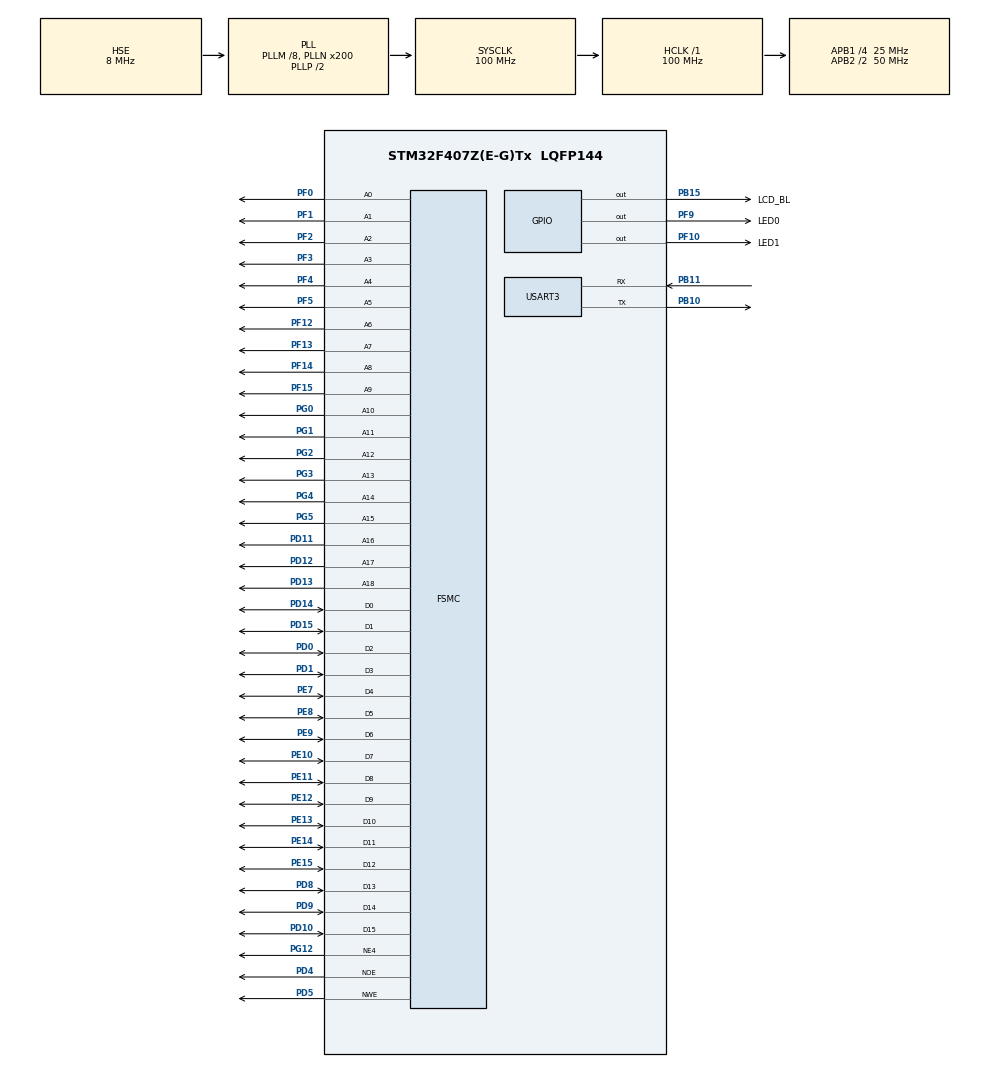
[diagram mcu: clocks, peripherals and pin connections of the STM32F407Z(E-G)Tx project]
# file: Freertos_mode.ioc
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FREERTOS.Tasks01=defaultTask,0,128,StartDefaultTask,Default;Task_LED,0,128,Func_LED,Default
FSMC.BusTurnAroundDuration1=4
FSMC.DataSetupTime1=85
FSMC.ExtendedBusTurnAroundDuration1=1
FSMC.ExtendedDataSetupTime1=15
FSMC.ExtendedMode1=FSMC_EXTENDED_MODE_ENABLE
FSMC.WriteOperation1=FSMC_WRITE_OPERATION_ENABLE
Mcu.Family=STM32F4
Mcu.Name=STM32F407Z(E-G)Tx
Mcu.Package=LQFP144
NVIC.PriorityGroup=NVIC_PRIORITYGROUP_4
NVIC.TIM8_TRG_COM_TIM14_IRQn=true\:0\:0\:false\:false\:true\:false
NVIC.TimeBase=TIM8_TRG_COM_TIM14_IRQn
NVIC.TimeBaseIP=TIM14
NVIC.USART3_IRQn=true\:5\:0\:false\:false\:true\:true
PB10.Mode=Asynchronous
PB10.Signal=USART3_TX
PB11.Mode=Asynchronous
PB11.Signal=USART3_RX
PB15.GPIO_Label=LCD_BL
PB15.GPIO_PuPd=GPIO_PULLUP
PB15.Signal=GPIO_Output
PD0.Signal=FSMC_D2_DA2
PD1.Signal=FSMC_D3_DA3
PD10.Signal=FSMC_D15_DA15
PD11.Signal=FSMC_A16_CLE
PD12.Signal=FSMC_A17_ALE
PD13.Signal=FSMC_A18
PD14.Signal=FSMC_D0_DA0
PD15.Signal=FSMC_D1_DA1
PD4.Signal=FSMC_NOE
PD5.Signal=FSMC_NWE
PD8.Signal=FSMC_D13_DA13
PD9.Signal=FSMC_D14_DA14
PE10.Signal=FSMC_D7_DA7
PE11.Signal=FSMC_D8_DA8
PE12.Signal=FSMC_D9_DA9
PE13.Signal=FSMC_D10_DA10
PE14.Signal=FSMC_D11_DA11
PE15.Signal=FSMC_D12_DA12
PE7.Signal=FSMC_D4_DA4
PE8.Signal=FSMC_D5_DA5
PE9.Signal=FSMC_D6_DA6
PF0.Signal=FSMC_A0
PF1.Signal=FSMC_A1
PF10.GPIO_Label=LED1
PF10.GPIO_PuPd=GPIO_PULLUP
PF10.GPIO_Speed=GPIO_SPEED_FREQ_HIGH
PF10.Signal=GPIO_Output
PF12.Signal=FSMC_A6
PF13.Signal=FSMC_A7
PF14.Signal=FSMC_A8
PF15.Signal=FSMC_A9
PF2.Signal=FSMC_A2
PF3.Signal=FSMC_A3
PF4.Signal=FSMC_A4
PF5.Signal=FSMC_A5
PF9.GPIO_Label=LED0
PF9.GPIO_PuPd=GPIO_PULLUP
PF9.GPIO_Speed=GPIO_SPEED_FREQ_HIGH
PF9.Signal=GPIO_Output
PG0.Signal=FSMC_A10
PG1.Signal=FSMC_A11
PG12.Mode=NorPsramChipSelect4_1
PG12.Signal=FSMC_NE4
PG2.Signal=FSMC_A12
PG3.Signal=FSMC_A13
PG4.Signal=FSMC_A14
PG5.Signal=FSMC_A15
PH0-OSC_IN.Mode=HSE-External-Oscillator
PH0-OSC_IN.Signal=RCC_OSC_IN
PH1-OSC_OUT.Mode=HSE-External-Oscillator
PH1-OSC_OUT.Signal=RCC_OSC_OUT
ProjectManager.HeapSize=0x200
ProjectManager.StackSize=0x400
ProjectManager.TargetToolchain=MDK-ARM V5
RCC.48MHZClocksFreq_Value=50000000
RCC.AHBFreq_Value=100000000
RCC.APB1CLKDivider=RCC_HCLK_DIV4
RCC.APB1Freq_Value=25000000
RCC.APB1TimFreq_Value=50000000
RCC.APB2CLKDivider=RCC_HCLK_DIV2
RCC.APB2Freq_Value=50000000
RCC.APB2TimFreq_Value=100000000
RCC.CortexFreq_Value=100000000
RCC.HCLKFreq_Value=100000000
RCC.HSE_VALUE=8000000
RCC.HSI_VALUE=16000000
RCC.LSE_VALUE=32768
RCC.PLLM=8
RCC.PLLN=200
RCC.PLLSourceVirtual=RCC_PLLSOURCE_HSE
RCC.SYSCLKFreq_VALUE=100000000
RCC.SYSCLKSource=RCC_SYSCLKSOURCE_PLLCLK
RCC.VCOOutputFreq_Value=200000000
SH.FSMC_A0.0=FSMC_A0,19b-a1
SH.FSMC_A1.0=FSMC_A1,19b-a1
SH.FSMC_A10.0=FSMC_A10,19b-a1
SH.FSMC_A11.0=FSMC_A11,19b-a1
SH.FSMC_A12.0=FSMC_A12,19b-a1
SH.FSMC_A13.0=FSMC_A13,19b-a1
SH.FSMC_A14.0=FSMC_A14,19b-a1
SH.FSMC_A15.0=FSMC_A15,19b-a1
SH.FSMC_A16_CLE.0=FSMC_A16,19b-a1
SH.FSMC_A17_ALE.0=FSMC_A17,19b-a1
SH.FSMC_A18.0=FSMC_A18,19b-a1
SH.FSMC_A2.0=FSMC_A2,19b-a1
SH.FSMC_A3.0=FSMC_A3,19b-a1
SH.FSMC_A4.0=FSMC_A4,19b-a1
SH.FSMC_A5.0=FSMC_A5,19b-a1
SH.FSMC_A6.0=FSMC_A6,19b-a1
SH.FSMC_A7.0=FSMC_A7,19b-a1
SH.FSMC_A8.0=FSMC_A8,19b-a1
SH.FSMC_A9.0=FSMC_A9,19b-a1
SH.FSMC_D0_DA0.0=FSMC_D0,16b-d1
SH.FSMC_D10_DA10.0=FSMC_D10,16b-d1
SH.FSMC_D11_DA11.0=FSMC_D11,16b-d1
SH.FSMC_D12_DA12.0=FSMC_D12,16b-d1
SH.FSMC_D13_DA13.0=FSMC_D13,16b-d1
SH.FSMC_D14_DA14.0=FSMC_D14,16b-d1
SH.FSMC_D15_DA15.0=FSMC_D15,16b-d1
SH.FSMC_D1_DA1.0=FSMC_D1,16b-d1
SH.FSMC_D2_DA2.0=FSMC_D2,16b-d1
SH.FSMC_D3_DA3.0=FSMC_D3,16b-d1
SH.FSMC_D4_DA4.0=FSMC_D4,16b-d1
SH.FSMC_D5_DA5.0=FSMC_D5,16b-d1
SH.FSMC_D6_DA6.0=FSMC_D6,16b-d1
SH.FSMC_D7_DA7.0=FSMC_D7,16b-d1
SH.FSMC_D8_DA8.0=FSMC_D8,16b-d1
SH.FSMC_D9_DA9.0=FSMC_D9,16b-d1
SH.FSMC_NOE.0=FSMC_NOE,Sram1
SH.FSMC_NWE.0=FSMC_NWE,Sram1
VP_FREERTOS_VS_ENABLE.Mode=Enabled
VP_SYS_VS_tim14.Mode=TIM14
board=Freertos_mode

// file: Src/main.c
/**
  ******************************************************************************
  * File Name          : main.c
  * Description        : Main program body
  ******************************************************************************
  *
  * COPYRIGHT(c) 2017 STMicroelectronics
  *
  * Redistribution and use in source and binary forms, with or without modification,
  * are permitted provided that the following conditions are met:
  *   1. Redistributions of source code must retain the above copyright notice,
  *      this list of conditions and the following disclaimer.
  *   2. Redistributions in binary form must reproduce the above copyright notice,
  *      this list of conditions and the following disclaimer in the documentation
  *      and/or other materials provided with the distribution.
  *   3. Neither the name of STMicroelectronics nor the names of its contributors
  *      may be used to endorse or promote products derived from this software
  *      without specific prior written permission.
  *
  * THIS SOFTWARE IS PROVIDED BY THE COPYRIGHT HOLDERS AND CONTRIBUTORS "AS IS"
  * AND ANY EXPRESS OR IMPLIED WARRANTIES, INCLUDING, BUT NOT LIMITED TO, THE
  * IMPLIED WARRANTIES OF MERCHANTABILITY AND FITNESS FOR A PARTICULAR PURPOSE ARE
  * DISCLAIMED. IN NO EVENT SHALL THE COPYRIGHT HOLDER OR CONTRIBUTORS BE LIABLE
  * FOR ANY DIRECT, INDIRECT, INCIDENTAL, SPECIAL, EXEMPLARY, OR CONSEQUENTIAL
  * DAMAGES (INCLUDING, BUT NOT LIMITED TO, PROCUREMENT OF SUBSTITUTE GOODS OR
  * SERVICES; LOSS OF USE, DATA, OR PROFITS; OR BUSINESS INTERRUPTION) HOWEVER
  * CAUSED AND ON ANY THEORY OF LIABILITY, WHETHER IN CONTRACT, STRICT LIABILITY,
  * OR TORT (INCLUDING NEGLIGENCE OR OTHERWISE) ARISING IN ANY WAY OUT OF THE USE
  * OF THIS SOFTWARE, EVEN IF ADVISED OF THE POSSIBILITY OF SUCH DAMAGE.
  *
  ******************************************************************************
  */
#include "stm32f4xx_hal.h"
#include "cmsis_os.h"
#include "usart.h"
#include "gpio.h"
#include "fsmc.h"

/* USER CODE BEGIN Includes */
 #include "lcd.h"
 #include "key.h"
/* USER CODE END Includes */

/* USER CODE BEGIN PV */
/* Private variables ---------------------------------------------------------*/

/* USER CODE END PV */

void SystemClock_Config(void);
void Error_Handler(void);
void MX_FREERTOS_Init(void);

/* USER CODE BEGIN PFP */
/* Private function prototypes -----------------------------------------------*/

/* USER CODE END PFP */

int main(void)
{

  /* MCU Configuration----------------------------------------------------------*/

  /* Reset of all peripherals, Initializes the Flash interface and the Systick. */
  HAL_Init();

  /* Configure the system clock */
  SystemClock_Config();

  /* Initialize all configured peripherals */
  MX_GPIO_Init();
  MX_USART3_UART_Init();
  MX_FSMC_Init();

  /* USER CODE BEGIN 2 */
  LCD_Init();
  KEY_Init();
  /* USER CODE END 2 */

  /* Call init function for freertos objects (in freertos.c) */
  MX_FREERTOS_Init();

  /* Start scheduler */
  osKernelStart();

  /* We should never get here as control is now taken by the scheduler */

  /* Infinite loop */
  while (1)
  {

  }

}

/** System Clock Configuration
*/
void SystemClock_Config(void)
{

  RCC_OscInitTypeDef RCC_OscInitStruct;
  RCC_ClkInitTypeDef RCC_ClkInitStruct;

  __HAL_RCC_PWR_CLK_ENABLE();

  __HAL_PWR_VOLTAGESCALING_CONFIG(PWR_REGULATOR_VOLTAGE_SCALE1);

  RCC_OscInitStruct.OscillatorType = RCC_OSCILLATORTYPE_HSE;
  RCC_OscInitStruct.HSEState = RCC_HSE_ON;
  RCC_OscInitStruct.PLL.PLLState = RCC_PLL_ON;
  RCC_OscInitStruct.PLL.PLLSource = RCC_PLLSOURCE_HSE;
  RCC_OscInitStruct.PLL.PLLM = 8;
  RCC_OscInitStruct.PLL.PLLN = 200;
  RCC_OscInitStruct.PLL.PLLP = RCC_PLLP_DIV2;
  RCC_OscInitStruct.PLL.PLLQ = 4;
  if (HAL_RCC_OscConfig(&RCC_OscInitStruct) != HAL_OK)
  {
    Error_Handler();
  }

  RCC_ClkInitStruct.ClockType = RCC_CLOCKTYPE_HCLK|RCC_CLOCKTYPE_SYSCLK
                              |RCC_CLOCKTYPE_PCLK1|RCC_CLOCKTYPE_PCLK2;
  RCC_ClkInitStruct.SYSCLKSource = RCC_SYSCLKSOURCE_PLLCLK;
  RCC_ClkInitStruct.AHBCLKDivider = RCC_SYSCLK_DIV1;
  RCC_ClkInitStruct.APB1CLKDivider = RCC_HCLK_DIV4;
  RCC_ClkInitStruct.APB2CLKDivider = RCC_HCLK_DIV2;
  if (HAL_RCC_ClockConfig(&RCC_ClkInitStruct, FLASH_LATENCY_3) != HAL_OK)
  {
    Error_Handler();
  }

  HAL_SYSTICK_Config(HAL_RCC_GetHCLKFreq()/1000);

  HAL_SYSTICK_CLKSourceConfig(SYSTICK_CLKSOURCE_HCLK);

  /* SysTick_IRQn interrupt configuration */
  HAL_NVIC_SetPriority(SysTick_IRQn, 15, 0);
}

void HAL_TIM_PeriodElapsedCallback(TIM_HandleTypeDef *htim)
{
  if (htim->Instance == TIM14) {
    HAL_IncTick();
  }
}

void Error_Handler(void)
{
  while(1)
  {
  }
}

/************************ (C) COPYRIGHT STMicroelectronics *****END OF FILE****/

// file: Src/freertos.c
/**
  ******************************************************************************
  * File Name          : freertos.c
  * Description        : Code for freertos applications
  ******************************************************************************
  *
  * COPYRIGHT(c) 2017 STMicroelectronics
  *
  * Redistribution and use in source and binary forms, with or without modification,
  * are permitted provided that the following conditions are met:
  *   1. Redistributions of source code must retain the above copyright notice,
  *      this list of conditions and the following disclaimer.
  *   2. Redistributions in binary form must reproduce the above copyright notice,
  *      this list of conditions and the following disclaimer in the documentation
  *      and/or other materials provided with the distribution.
  *   3. Neither the name of STMicroelectronics nor the names of its contributors
  *      may be used to endorse or promote products derived from this software
  *      without specific prior written permission.
  *
  * THIS SOFTWARE IS PROVIDED BY THE COPYRIGHT HOLDERS AND CONTRIBUTORS "AS IS"
  * AND ANY EXPRESS OR IMPLIED WARRANTIES, INCLUDING, BUT NOT LIMITED TO, THE
  * IMPLIED WARRANTIES OF MERCHANTABILITY AND FITNESS FOR A PARTICULAR PURPOSE ARE
  * DISCLAIMED. IN NO EVENT SHALL THE COPYRIGHT HOLDER OR CONTRIBUTORS BE LIABLE
  * FOR ANY DIRECT, INDIRECT, INCIDENTAL, SPECIAL, EXEMPLARY, OR CONSEQUENTIAL
  * DAMAGES (INCLUDING, BUT NOT LIMITED TO, PROCUREMENT OF SUBSTITUTE GOODS OR
  * SERVICES; LOSS OF USE, DATA, OR PROFITS; OR BUSINESS INTERRUPTION) HOWEVER
  * CAUSED AND ON ANY THEORY OF LIABILITY, WHETHER IN CONTRACT, STRICT LIABILITY,
  * OR TORT (INCLUDING NEGLIGENCE OR OTHERWISE) ARISING IN ANY WAY OUT OF THE USE
  * OF THIS SOFTWARE, EVEN IF ADVISED OF THE POSSIBILITY OF SUCH DAMAGE.
  *
  ******************************************************************************
  */

#include "FreeRTOS.h"
#include "task.h"
#include "cmsis_os.h"

/* USER CODE BEGIN Includes */
#include "stm32f4xx_hal.h"
#include "sys.h"
#include "uart.h"
#include "usart.h"
#include "lcd.h"
#include "key.h"
/* USER CODE END Includes */

osThreadId defaultTaskHandle;
osThreadId Task_LEDHandle;

/* USER CODE BEGIN Variables */
osThreadId Task_usartHandle;
osThreadId Task_WIFIHandle;
/* USER CODE END Variables */

void StartDefaultTask(void const * argument);
void Func_LED(void const * argument);

void MX_FREERTOS_Init(void); /* (MISRA C 2004 rule 8.1) */

/* USER CODE BEGIN FunctionPrototypes */
void Func_usart(void const * argument);
void Func_WIFI(void const * argument);
/* USER CODE END FunctionPrototypes */

/* Hook prototypes */

/* Init FreeRTOS */

void MX_FREERTOS_Init(void) {

  /* Create the thread(s) */
  /* definition and creation of defaultTask */
  osThreadDef(defaultTask, StartDefaultTask, osPriorityNormal, 0, 128);
  defaultTaskHandle = osThreadCreate(osThread(defaultTask), NULL);

  /* definition and creation of Task_LED */
  osThreadDef(Task_LED, Func_LED, osPriorityNormal, 0, 128);
  Task_LEDHandle = osThreadCreate(osThread(Task_LED), NULL);

  /* USER CODE BEGIN RTOS_THREADS */
  /* add threads, ... */
  osThreadDef(Task_usart, Func_usart, osPriorityNormal, 0, 128);
  Task_LEDHandle = osThreadCreate(osThread(Task_usart), NULL);
  osThreadDef(Task_WIFI, Func_WIFI, osPriorityNormal, 0, 128);
  Task_LEDHandle = osThreadCreate(osThread(Task_WIFI), NULL);
  /* USER CODE END RTOS_THREADS */

}

/* StartDefaultTask function */
void StartDefaultTask(void const * argument)
{

  for(;;)
  {
    osDelay(1);
  }
}

/* Func_LED function */
void Func_LED(void const * argument)
{
  /* USER CODE BEGIN Func_LED */
  /* Infinite loop */
  for(;;)
  {
//    HAL_GPIO_TogglePin(LED0_GPIO_Port,LED0_Pin);
//    osDelay(500);
//    HAL_GPIO_TogglePin(LED0_GPIO_Port,LED0_Pin);
//    osDelay(500);

    osDelay(1);
  }
  /* USER CODE END Func_LED */
}

/* USER CODE BEGIN Application */
void Func_usart(void const * argument)
{
  /* USER CODE BEGIN Func_LED */

	u8 len;
  u8 m[20] = "AT";

  LCD_ShowString(30,40,210,24,24,"Explorer STM32F4");
		LCD_ShowString(30,70,200,16,16,"TFTLCD TEST");
		LCD_ShowString(30,90,200,16,16,"ATOM@ALIENTEK");

		LCD_ShowString(30,130,200,12,12,"2014/5/4");
  /* Infinite loop */
  for(;;)
  {
    if(USART_RX_STA&0x8000)
		{
			len=USART_RX_STA&0x3fff;//得到此次接收到的数据长度
			printf("\r\n您发送的消息为:\r\n");
			HAL_UART_Transmit(&UART1_Handler,(uint8_t*)USART_RX_BUF,len,1000);	//发送接收到的数据
			while(__HAL_UART_GET_FLAG(&UART1_Handler,UART_FLAG_TC)!=SET);		//等待发送结束
			printf("\r\n\r\n");//插入换行
			USART_RX_STA=0;
		}
    osDelay(1);

  }

  /* USER CODE END Func_LED */
}

void Func_WIFI(void const * argument)
{
  /* USER CODE BEGIN Func_LED */
	u8 length;
  u8 key;
  /* Infinite loop */
  for(;;)
  {
    if(USART3_RX_STA&0x8000)
		{
			length=USART3_RX_STA&0x3fff;//得到此次接收到的数据长度
			printf("\r\n您发送的消息为:\r\n");
			HAL_UART_Transmit(&huart3,(uint8_t*)USART3_RX_BUF,length,1000);	//发送接收到的数据
			while(__HAL_UART_GET_FLAG(&huart3,UART_FLAG_TC)!=SET);		//等待发送结束
			printf("\r\n\r\n");//插入换行
			USART3_RX_STA=0;
		}
    //HAL_UART_Transmit(&huart3,(uint8_t*)m ,3,1000);
    key=KEY_Scan(0);            //按键扫描
     printf("%d",key);
				switch(key)
				{
					case  WKUP_PRES:	//控制LED0,LED1互斥点亮
								HAL_GPIO_TogglePin(LED0_GPIO_Port,LED0_Pin);
								HAL_GPIO_TogglePin(LED1_GPIO_Port,LED1_Pin);
								break;
					case  KEY2_PRES:	//控制LED0翻转
								 HAL_GPIO_TogglePin(LED0_GPIO_Port,LED0_Pin);
								break;
					case  KEY1_PRES:	//控制LED1翻转
								 HAL_GPIO_TogglePin(LED1_GPIO_Port,LED1_Pin);
								break;
					case  KEY0_PRES:	//同时控制LED0,LED1翻转
								 HAL_GPIO_TogglePin(LED0_GPIO_Port,LED0_Pin);
								 HAL_GPIO_TogglePin(LED1_GPIO_Port,LED1_Pin);
								break;
			}

    osDelay(1);

  }
}
/* USER CODE END Application */

/************************ (C) COPYRIGHT STMicroelectronics *****END OF FILE****/
